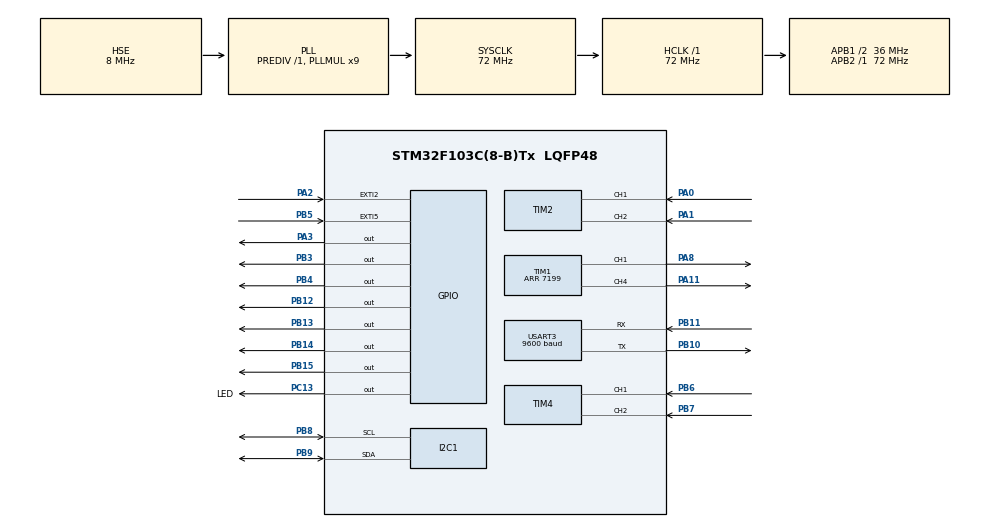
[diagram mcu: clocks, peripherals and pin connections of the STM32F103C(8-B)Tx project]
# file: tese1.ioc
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Mcu.Family=STM32F1
Mcu.Name=STM32F103C(8-B)Tx
Mcu.Package=LQFP48
NVIC.EXTI2_IRQn=true\:0\:0\:false\:false\:true\:true\:true\:true
NVIC.EXTI9_5_IRQn=true\:0\:0\:false\:false\:true\:true\:true\:true
NVIC.PriorityGroup=NVIC_PRIORITYGROUP_4
NVIC.USART3_IRQn=true\:0\:0\:false\:false\:true\:true\:true\:true
PA0-WKUP.Signal=S_TIM2_CH1_ETR
PA1.Signal=S_TIM2_CH2
PA11.Signal=S_TIM1_CH4
PA13.Mode=Serial_Wire
PA13.Signal=SYS_JTMS-SWDIO
PA14.Mode=Serial_Wire
PA14.Signal=SYS_JTCK-SWCLK
PA2.GPIO_ModeDefaultEXTI=GPIO_MODE_IT_RISING_FALLING
PA2.Signal=GPXTI2
PA3.GPIO_Speed=GPIO_SPEED_FREQ_HIGH
PA3.Signal=GPIO_Output
PA8.Signal=S_TIM1_CH1
PB10.Mode=Asynchronous
PB10.Signal=USART3_TX
PB11.Mode=Asynchronous
PB11.Signal=USART3_RX
PB12.Signal=GPIO_Output
PB13.Signal=GPIO_Output
PB14.Signal=GPIO_Output
PB15.Signal=GPIO_Output
PB3.GPIO_Speed=GPIO_SPEED_FREQ_HIGH
PB3.PinState=GPIO_PIN_RESET
PB3.Signal=GPIO_Output
PB4.GPIO_Speed=GPIO_SPEED_FREQ_HIGH
PB4.PinState=GPIO_PIN_RESET
PB4.Signal=GPIO_Output
PB5.GPIO_ModeDefaultEXTI=GPIO_MODE_IT_FALLING
PB5.GPIO_PuPd=GPIO_PULLUP
PB5.Signal=GPXTI5
PB6.Signal=S_TIM4_CH1
PB7.Signal=S_TIM4_CH2
PB8.Mode=I2C
PB8.Signal=I2C1_SCL
PB9.Mode=I2C
PB9.Signal=I2C1_SDA
PC13-TAMPER-RTC.GPIO_Label=LED
PC13-TAMPER-RTC.PinState=GPIO_PIN_SET
PC13-TAMPER-RTC.Signal=GPIO_Output
PC14-OSC32_IN.Mode=LSE-External-Oscillator
PC14-OSC32_IN.Signal=RCC_OSC32_IN
PC15-OSC32_OUT.Mode=LSE-External-Oscillator
PC15-OSC32_OUT.Signal=RCC_OSC32_OUT
PD0-OSC_IN.Mode=HSE-External-Oscillator
PD0-OSC_IN.Signal=RCC_OSC_IN
PD1-OSC_OUT.Mode=HSE-External-Oscillator
PD1-OSC_OUT.Signal=RCC_OSC_OUT
ProjectManager.HeapSize=0x200
ProjectManager.StackSize=0x400
ProjectManager.TargetToolchain=MDK-ARM V5.32
RCC.AHBFreq_Value=72000000
RCC.APB1CLKDivider=RCC_HCLK_DIV2
RCC.APB1Freq_Value=36000000
RCC.APB1TimFreq_Value=72000000
RCC.APB2Freq_Value=72000000
RCC.APB2TimFreq_Value=72000000
RCC.HCLKFreq_Value=72000000
RCC.PLLMUL=RCC_PLL_MUL9
RCC.PLLSourceVirtual=RCC_PLLSOURCE_HSE
RCC.SYSCLKFreq_VALUE=72000000
RCC.SYSCLKSource=RCC_SYSCLKSOURCE_PLLCLK
RCC.USBFreq_Value=72000000
SH.S_TIM1_CH1.0=TIM1_CH1,PWM Generation1 CH1
SH.S_TIM1_CH4.0=TIM1_CH4,PWM Generation4 CH4
SH.S_TIM2_CH1_ETR.0=TIM2_CH1,Encoder_Interface
SH.S_TIM2_CH2.0=TIM2_CH2,Encoder_Interface
SH.S_TIM4_CH1.0=TIM4_CH1,Encoder_Interface
SH.S_TIM4_CH2.0=TIM4_CH2,Encoder_Interface
TIM1.Channel-PWM\ Generation1\ CH1=TIM_CHANNEL_1
TIM1.Channel-PWM\ Generation4\ CH4=TIM_CHANNEL_4
TIM1.Period=7199
TIM1.Pulse-PWM\ Generation1\ CH1=7200
TIM1.Pulse-PWM\ Generation4\ CH4=7200
TIM2.EncoderMode=TIM_ENCODERMODE_TI12
TIM3.Prescaler=71
TIM4.EncoderMode=TIM_ENCODERMODE_TI12
USART3.BaudRate=9600
USART3.VirtualMode=VM_ASYNC
VP_TIM3_VS_ClockSourceINT.Mode=Internal
board=custom

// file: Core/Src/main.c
/* USER CODE BEGIN Header */
/**
  ******************************************************************************
  * @file           : main.c
  * @brief          : Main program body
  ******************************************************************************
  * @attention
  *
  * Copyright (c) 2025 STMicroelectronics.
  * All rights reserved.
  *
  * This software is licensed under terms that can be found in the LICENSE file
  * in the root directory of this software component.
  * If no LICENSE file comes with this software, it is provided AS-IS.
  *
  ******************************************************************************
  */
/* USER CODE END Header */
#include "main.h"
#include "i2c.h"
#include "tim.h"
#include "usart.h"
#include "gpio.h"

/* USER CODE BEGIN Includes */
#include "oled.h"
#include "IIC.h"
#include "inv_mpu.h"
#include "mpu6050.h"
#include "stdio.h"
#include "Sr04.h"
#include <math.h>
#include "motor.h"
#include "encoder.h"
#include "string.h"
#include "pid.h"
/* USER CODE END Includes */

/* USER CODE BEGIN PV */
char display_buf[32];
char temp_buf[8];
extern uint8_t rx_buf[2];
extern int Encoder_Left, Encoder_Right;
extern float pitch, roll, yaw;
extern short gyrox;
uint32_t sys_tick;

extern float distance;
/* USER CODE END PV */

void SystemClock_Config(void);
/* USER CODE BEGIN PFP */
// 声明自定义函数，避免编译警告
void float2str(float num, char *buf, int n);
void int2str(int num, char *buf, int len);
void Read(void);
/* USER CODE END PFP */

/* USER CODE BEGIN 0 */
// 把自定义函数放在这里

/* USER CODE END 0 */

int main(void)
{

  /* MCU Configuration--------------------------------------------------------*/

  /* Reset of all peripherals, Initializes the Flash interface and the Systick. */
  HAL_Init();

  /* Configure the system clock */
  SystemClock_Config();
  HAL_Delay(50);

  /* Initialize all configured peripherals */
  MX_GPIO_Init();
  MX_I2C1_Init();
  MX_TIM3_Init();
  MX_TIM1_Init();
  MX_TIM2_Init();
  MX_TIM4_Init();
  MX_USART3_UART_Init();
  /* USER CODE BEGIN 2 */
  //初始化顺序是有讲究的
  //OLED初始化
  OLED_Init();
  OLED_Clear();
  //开启测速必要
  HAL_TIM_Encoder_Start(&htim2, TIM_CHANNEL_ALL);
  HAL_TIM_Encoder_Start(&htim4, TIM_CHANNEL_ALL);
  //MPU6050初始化
  MPU_Init();
  mpu_dmp_init();
  //用MPU6050的IN整个10ms中断
  HAL_NVIC_SetPriority(EXTI9_5_IRQn, 0, 0);
  HAL_NVIC_EnableIRQ(EXTI9_5_IRQn);
  //开启PWM必要
  HAL_TIM_PWM_Start(&htim1, TIM_CHANNEL_1);
  HAL_TIM_PWM_Start(&htim1, TIM_CHANNEL_4);
  //开启串口接收必要(串口中断)
  HAL_UART_Receive_IT(&huart3, rx_buf, 1);

  OLED_ShowString(0,00,"Init Sucesse",16);
  OLED_Clear();
  /* USER CODE END 2 */

  /* Infinite loop */
  while (1)
  {

    /* USER CODE BEGIN 3 */

    //以下为基础代码学习使用，并没有优化逻辑，只能最基础的使用
    // int Encoder_Left, Encoder_Right;
    // Read();//编码器测速，370电机在40左右
    //左电机测速显示(pid.c里面重新写了读取速度)
     int2str(Encoder_Left, temp_buf, 5);
     OLED_ShowString(0, 0, (uint8_t*)"Encoder_L:", 16);
     OLED_ShowString(80, 0, (uint8_t*)temp_buf, 16);
    //右电机测速显示
     int2str(Encoder_Right, temp_buf, 5);
     OLED_ShowString(0, 2, (uint8_t*)"Encoder_R:", 16);
     OLED_ShowString(80, 2, (uint8_t*)temp_buf,  16);

     //角度获取显示
     //float pitch, roll, yaw;
     mpu_dmp_get_data(&pitch, &roll, &yaw);
     float2str(-roll, temp_buf, 2);
     sprintf(display_buf, "roll:%s   ", temp_buf);
     OLED_ShowString(0, 4,(uint8_t*) display_buf, 16);

    //非中断发送角度
     // uint16_t send_len = strlen(display_buf);
     // HAL_UART_Transmit(&huart3, (uint8_t*)display_buf, send_len, 100);

    //距离获取显示
    GET_Distance();
    float2str(distance, temp_buf, 2);
    sprintf(display_buf, "distance:%s   ", temp_buf);
    OLED_ShowString(0, 6, (uint8_t*)display_buf, 12);
  }
  /* USER CODE END 3 */
}

void SystemClock_Config(void)
{
  RCC_OscInitTypeDef RCC_OscInitStruct = {0};
  RCC_ClkInitTypeDef RCC_ClkInitStruct = {0};

  /** Initializes the RCC Oscillators according to the specified parameters
  * in the RCC_OscInitTypeDef structure.
  */
  RCC_OscInitStruct.OscillatorType = RCC_OSCILLATORTYPE_HSE;
  RCC_OscInitStruct.HSEState = RCC_HSE_ON;
  RCC_OscInitStruct.HSEPredivValue = RCC_HSE_PREDIV_DIV1;
  RCC_OscInitStruct.HSIState = RCC_HSI_ON;
  RCC_OscInitStruct.PLL.PLLState = RCC_PLL_ON;
  RCC_OscInitStruct.PLL.PLLSource = RCC_PLLSOURCE_HSE;
  RCC_OscInitStruct.PLL.PLLMUL = RCC_PLL_MUL9;
  if (HAL_RCC_OscConfig(&RCC_OscInitStruct) != HAL_OK)
  {
    Error_Handler();
  }

  /** Initializes the CPU, AHB and APB buses clocks
  */
  RCC_ClkInitStruct.ClockType = RCC_CLOCKTYPE_HCLK|RCC_CLOCKTYPE_SYSCLK
                              |RCC_CLOCKTYPE_PCLK1|RCC_CLOCKTYPE_PCLK2;
  RCC_ClkInitStruct.SYSCLKSource = RCC_SYSCLKSOURCE_PLLCLK;
  RCC_ClkInitStruct.AHBCLKDivider = RCC_SYSCLK_DIV1;
  RCC_ClkInitStruct.APB1CLKDivider = RCC_HCLK_DIV2;
  RCC_ClkInitStruct.APB2CLKDivider = RCC_HCLK_DIV1;

  if (HAL_RCC_ClockConfig(&RCC_ClkInitStruct, FLASH_LATENCY_2) != HAL_OK)
  {
    Error_Handler();
  }
}

/* USER CODE BEGIN 4 */
//*1确保Read函数的执行频率不会超过每 10 毫秒一次
// void  Read()
// {
//   if (uwTick-sys_tick<10)
//   return;
//   sys_tick =uwTick;
//   Encoder_Left = -Read_Speed(&htim2);
//   Encoder_Right = Read_Speed(&htim4);
// }

//*2用来处理浮点数
void float2str(float num, char *buf, int n)
{
  // 处理符号
  int sign = 0;
  if (num < 0.0f)
  {
    sign = 1;
    num = fabsf(num); // 用fabsf更适合浮点数，避免负数取绝对值的问题
  }

  // 提取整数部分
  int integer_part = (int)num;
  // 提取小数部分（乘以10^n后取整）
  float decimal_part = num - (float)integer_part;

  // 解决pow精度问题：手动计算10的n次方，不用pow函数
  long decimal_int = 0;
  long scale = 1; // 存储10^n
  for (int i = 0; i < n; i++)
  {
    decimal_part *= 10.0f;
    scale *= 10;
  }
  decimal_int = (long)(decimal_part + 0.5f); // 四舍五入

  // 转换整数部分为字符串
  char int_buf[10] = {0};
  int i = 0;
  if (integer_part == 0)
  {
    int_buf[i++] = '0';
  }
  else
  {
    while (integer_part > 0)
    {
      int_buf[i++] = (integer_part % 10) + '0';
      integer_part /= 10;
    }
  }

  // 反转整数部分并拼接结果
  int j = 0;
  if (sign)
  {
    buf[j++] = '-';
  }
  // 反转整数部分
  for (int k = i - 1; k >= 0; k--)
  {
    buf[j++] = int_buf[k];
  }
  // 添加小数点
  buf[j++] = '.';
  // 转换小数部分为字符串（用scale代替pow，避免精度问题）
  long temp_scale = scale;
  for (int k = 0; k < n; k++)
  {
    temp_scale /= 10;
    int digit = (decimal_int / temp_scale) % 10;
    buf[j++] = digit + '0';
  }
  // 字符串结束符
  buf[j] = '\0';
}
//*3用来处理正负数
void int2str(int num, char *buf, int len)
{
    // 1. 处理符号（和float2str的符号处理逻辑完全一致）
    int sign = 0;
    int abs_num = num;
    if (num < 0)
    {
        sign = 1;
        abs_num = -num; // 取整数的绝对值
    }

    // 2. 提取整数的每一位（逆序存储到临时缓冲区，和float2str整数部分逻辑一致）
    char int_buf[16] = {0}; // 临时存储逆序的数字，足够容纳int最大位数
    int i = 0;
    if (abs_num == 0)
    {
        // 特殊情况：数字为0，直接存'0'
        int_buf[i++] = '0';
    }
    else
    {
        // 循环提取每一位数字（逆序）
        while (abs_num > 0)
        {
            int_buf[i++] = (abs_num % 10) + '0';
            abs_num /= 10;
        }
    }

    // 3. 拼接结果：处理符号+补位+反转数字（和float2str的拼接逻辑对齐）
    int j = 0;
    int digit_count = i; // 实际提取的数字位数
    int total_digit_len = len; // 指定的显示位数

    if (sign)
    {
        // 负数：先添加负号，负号占一位
        buf[j++] = '-';
    }
    else
    {
        // 正数：可以留一个空格位（也可以去掉，根据需求）
        // buf[j++] = ' ';
    }
  // 不足指定位数，补空格（想要补0的话，把' '换成'0'即可）
  int space_count = total_digit_len - digit_count;
  for (int k = 0; k < space_count; k++)
  {
    buf[j++] = ' ';
  }

  // 反转临时缓冲区的数字，拼接至结果
  for (int k = digit_count - 1; k >= 0; k--)
  {
    buf[j++] = int_buf[k];
  }

  // 4. 添加字符串结束符（必须，避免乱码）
  buf[j] = '\0';
}
/* USER CODE END 4 */

void Error_Handler(void)
{
  __disable_irq();
  while (1)
  {
  }
}
